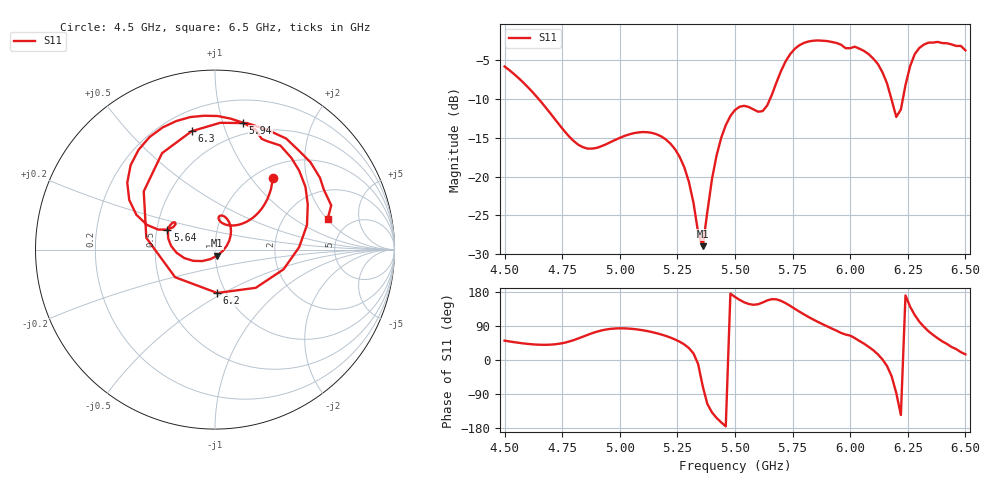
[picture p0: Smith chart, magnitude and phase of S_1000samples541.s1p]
! TOUCHSTONE file generated by CST MICROWAVE STUDIO
! Date and time: Fri Oct 28 12:53:57 2022
! Project name: L.cst
! Parameters = {Di=1.27; Epsilon_r=1.56; InnerDiameter=1.27; Length=2; Lf=10; Lg=60; OuterConductorThickness=0.2921; OuterDiameter=3.6; Wf=3; Wp=41.2; de=1.5; df=6.8; g=0.8; gx=1.52248; gy=1.97119; h=2.34; hf=1.524; px=13.3482; py=10.5596; w=9.7; wx=11.8258; wy=8.58836}
! Header version: 2018
! Port assignment regex: !\s*Touchstone port\s*([0-9]+)\s*=\s*(CST MWS port|CST DS port)\s*([0-9]+|Zmin|Zmax)\s*\(\"(.*)\"\)(\s*mode\s*([0-9]+))?.*
! Touchstone port assignment:
! Touchstone port 1 = CST MWS port 1 ("")
# GHz S DB R 50
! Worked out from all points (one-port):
!   101 points, 4.5 GHz to 6.5 GHz, reference 50 ohm
!   lowest |S11| = -28.9 dB at 5.36 GHz (marker M1), VSWR 1.07, Z = 51.2 - j3.42 ohm
!   |S11| at or under -10 dB: 4.647 GHz to 5.652 GHz (1.005 GHz wide, 19.5 % of centre); 6.179 GHz to 6.229 GHz (49.95 MHz wide, 0.805 % of centre)
!   S11 on the Smith chart (normalised r, x): 4.5 GHz: 1.20, +1.28; 5.64 GHz: 0.57, +0.14; 5.94 GHz: 0.39, +1.17; 6.2 GHz: 0.91, -0.47; 6.3 GHz: 0.32, +0.77; 6.5 GHz: 3.45, +2.01
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4.5  -5.84 51.0
4.76  -14.16 45.5
4.86  -16.40 66.3
5  -15.01 83.7
5.16  -14.56 70.6
5.26  -17.48 48.2
5.3  -20.69 31.4
5.36  -28.95 -69.5
5.42  -17.28 -152.8
5.5  -11.43 166.4
5.56  -11.05 147.7
5.64  -10.83 157.2
5.7  -6.39 156.1
5.76  -3.55 135.0
5.84  -2.52 106.7
5.94  -2.80 77.6
6  -3.48 64.5
6.06  -3.84 43.1
6.12  -5.50 15.0
6.16  -8.02 -16.0
6.2  -12.33 -87.1
6.22  -11.36 -145.3
6.24  -8.22 170.3
6.26  -5.81 140.8
6.3  -3.45 101.2
6.34  -2.77 75.8
6.4  -2.82 49.1
6.5  -3.75 15.0
